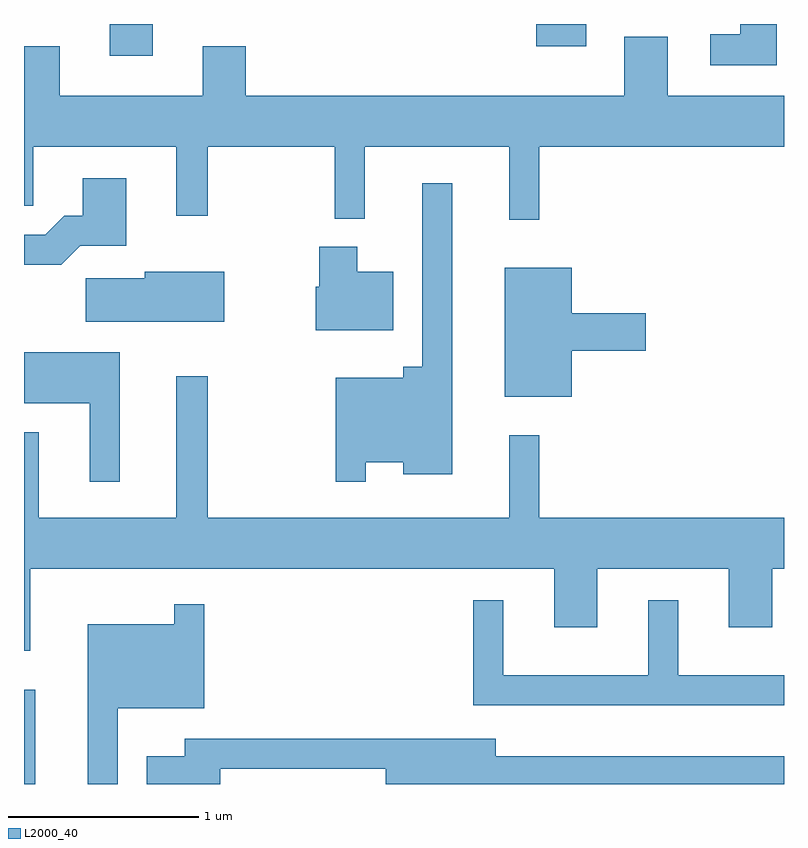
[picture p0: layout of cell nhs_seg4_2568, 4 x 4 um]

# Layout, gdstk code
import gdstk
lib = gdstk.Library(unit=1e-6, precision=1e-09)
def R(c, l, rs):  # rectangles x0, y0, x1, y1
    for r in rs: c.add(gdstk.rectangle(r[:2], r[2:], *l))
def P(c, l, *ps):  # polygons
    for p in ps: c.add(gdstk.Polygon(p, *l))
L2000_40 = (2000, 40)

nhs_seg4_2568 = lib.new_cell('nhs_seg4_2568')
R(nhs_seg4_2568, L2000_40, [(259.611,1357.982,259.669,1358.479), (260.061,1361.816,260.289,1361.982), (262.306,1361.866,262.569,1361.982)])
P(nhs_seg4_2568, L2000_40, [(263.574,1361.982),(263.381,1361.982),(263.381,1361.929),(263.223,1361.929),(263.223,1361.766),(263.574,1361.766)],
  [(262.324,1361.336),(263.611,1361.336),(263.611,1361.604),(262.999,1361.604),(262.999,1361.914),(262.771,1361.914),(262.771,1361.604),(260.779,1361.604),(260.779,1361.864),(260.551,1361.864),(260.551,1361.604),(259.799,1361.604),(259.799,1361.864),(259.611,1361.864),(259.611,1361.026),(259.659,1361.026),(259.659,1361.336),(260.411,1361.336),(260.411,1360.973),(260.579,1360.973),(260.579,1361.336),(261.246,1361.336),(261.246,1360.958),(261.404,1360.958),(261.404,1361.336),(262.166,1361.336),(262.166,1360.953),(262.324,1360.953)],
  [(259.907,1360.816),(260.149,1360.816),(260.149,1361.169),(259.921,1361.169),(259.921,1360.974),(259.824,1360.974),(259.724,1360.874),(259.611,1360.874),(259.611,1360.716),(259.807,1360.716)],
  [(261.409,1359.676),(261.606,1359.676),(261.606,1359.611),(261.864,1359.611),(261.864,1361.143),(261.706,1361.143),(261.706,1360.179),(261.606,1360.179),(261.606,1360.119),(261.251,1360.119),(261.251,1359.573),(261.409,1359.573)],
  [(261.554,1360.679),(261.364,1360.679),(261.364,1360.809),(261.166,1360.809),(261.166,1360.599),(261.146,1360.599),(261.146,1360.371),(261.554,1360.371)],
  [(262.494,1360.261),(262.884,1360.261),(262.884,1360.459),(262.494,1360.459),(262.494,1360.699),(262.141,1360.699),(262.141,1360.021),(262.494,1360.021)],
  [(260.664,1360.679),(260.246,1360.679),(260.246,1360.644),(259.936,1360.644),(259.936,1360.416),(260.664,1360.416)],
  [(260.114,1360.254),(259.611,1360.254),(259.611,1359.986),(259.956,1359.986),(259.956,1359.573),(260.114,1359.573)],
  [(259.644,1359.116),(262.401,1359.116),(262.401,1358.806),(262.629,1358.806),(262.629,1359.116),(263.321,1359.116),(263.321,1358.806),(263.549,1358.806),(263.549,1359.116),(263.611,1359.116),(263.611,1359.384),(262.324,1359.384),(262.324,1359.818),(262.166,1359.818),(262.166,1359.384),(260.579,1359.384),(260.579,1360.128),(260.411,1360.128),(260.411,1359.384),(259.689,1359.384),(259.689,1359.834),(259.611,1359.834),(259.611,1358.683),(259.644,1358.683)],
  [(263.611,1358.554),(263.054,1358.554),(263.054,1358.948),(262.896,1358.948),(262.896,1358.554),(262.134,1358.554),(262.134,1358.948),(261.976,1358.948),(261.976,1358.396),(263.611,1358.396)],
  [(260.104,1358.381),(260.559,1358.381),(260.559,1358.928),(260.401,1358.928),(260.401,1358.824),(259.946,1358.824),(259.946,1357.982),(260.104,1357.982)],
  [(260.644,1358.061),(261.516,1358.061),(261.516,1357.982),(263.611,1357.982),(263.611,1358.129),(262.094,1358.129),(262.094,1358.219),(260.456,1358.219),(260.456,1358.129),(260.256,1358.129),(260.256,1357.982),(260.644,1357.982)])

lib.write_gds('nhs_seg4_2568.gds')
